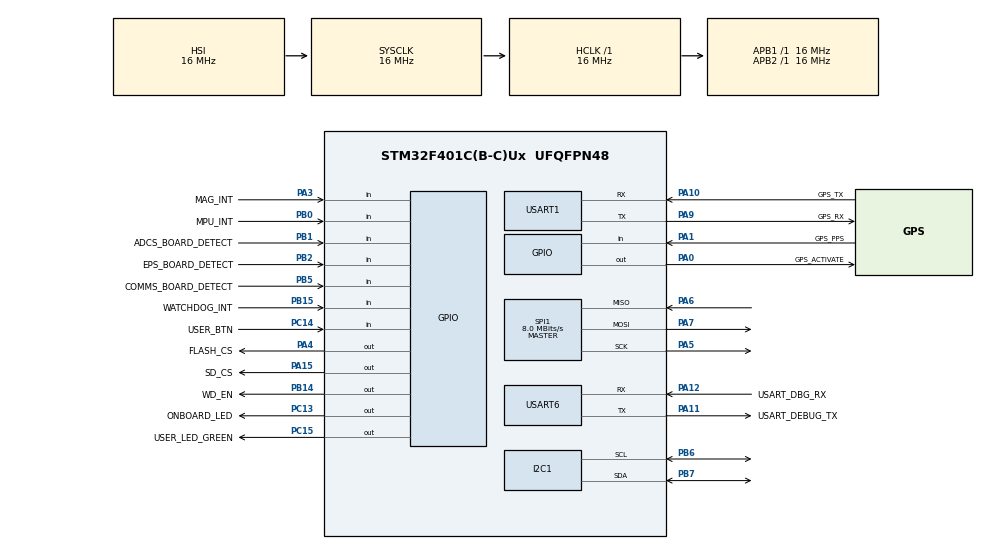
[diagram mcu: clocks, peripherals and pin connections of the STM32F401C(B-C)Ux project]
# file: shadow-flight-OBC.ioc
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Dma.Request0=USART1_RX
Dma.USART1_RX.0.Direction=DMA_PERIPH_TO_MEMORY
Dma.USART1_RX.0.FIFOMode=DMA_FIFOMODE_DISABLE
Dma.USART1_RX.0.Instance=DMA2_Stream2
Dma.USART1_RX.0.MemDataAlignment=DMA_MDATAALIGN_BYTE
Dma.USART1_RX.0.MemInc=DMA_MINC_ENABLE
Dma.USART1_RX.0.Mode=DMA_NORMAL
Dma.USART1_RX.0.PeriphDataAlignment=DMA_PDATAALIGN_BYTE
Dma.USART1_RX.0.PeriphInc=DMA_PINC_DISABLE
Dma.USART1_RX.0.Priority=DMA_PRIORITY_LOW
FREERTOS.Tasks01=defaultTask,0,128,StartDefaultTask,Default,NULL,Dynamic,NULL,NULL
Mcu.Family=STM32F4
Mcu.Name=STM32F401C(B-C)Ux
Mcu.Package=UFQFPN48
NVIC.DMA2_Stream2_IRQn=true\:5\:0\:false\:false\:true\:true\:false\:true\:true
NVIC.PriorityGroup=NVIC_PRIORITYGROUP_4
NVIC.TIM1_UP_TIM10_IRQn=true\:15\:0\:false\:false\:true\:false\:false\:true\:true
NVIC.TimeBase=TIM1_UP_TIM10_IRQn
NVIC.TimeBaseIP=TIM1
NVIC.USART1_IRQn=true\:5\:0\:false\:false\:true\:true\:true\:true\:true
NVIC.USART6_IRQn=true\:5\:0\:false\:false\:true\:true\:true\:true\:true
PA0-WKUP.GPIO_Label=GPS_ACTIVATE
PA0-WKUP.Signal=GPIO_Output
PA1.GPIO_Label=GPS_PPS
PA1.Signal=GPIO_Input
PA10.GPIO_Label=GPS_TX
PA10.Mode=Asynchronous
PA10.Signal=USART1_RX
PA11.GPIO_Label=USART_DEBUG_TX
PA11.Mode=Asynchronous
PA11.Signal=USART6_TX
PA12.GPIO_Label=USART_DBG_RX
PA12.Mode=Asynchronous
PA12.Signal=USART6_RX
PA13.Mode=Serial_Wire
PA13.Signal=SYS_JTMS-SWDIO
PA14.Mode=Serial_Wire
PA14.Signal=SYS_JTCK-SWCLK
PA15.GPIO_Label=SD_CS
PA15.Signal=GPIO_Output
PA3.GPIO_Label=MAG_INT
PA3.Signal=GPIO_Input
PA4.GPIO_Label=FLASH_CS
PA4.Signal=GPIO_Output
PA5.Mode=Full_Duplex_Master
PA5.Signal=SPI1_SCK
PA6.Mode=Full_Duplex_Master
PA6.Signal=SPI1_MISO
PA7.Mode=Full_Duplex_Master
PA7.Signal=SPI1_MOSI
PA9.GPIO_Label=GPS_RX
PA9.Mode=Asynchronous
PA9.Signal=USART1_TX
PB0.GPIO_Label=MPU_INT
PB0.Signal=GPIO_Input
PB1.GPIO_Label=ADCS_BOARD_DETECT
PB1.Signal=GPIO_Input
PB14.GPIO_Label=WD_EN
PB14.Signal=GPIO_Output
PB15.GPIO_Label=WATCHDOG_INT
PB15.Signal=GPIO_Input
PB2.GPIO_Label=EPS_BOARD_DETECT
PB2.Signal=GPIO_Input
PB5.GPIO_Label=COMMS_BOARD_DETECT
PB5.Signal=GPIO_Input
PB6.Mode=I2C
PB6.Signal=I2C1_SCL
PB7.Mode=I2C
PB7.Signal=I2C1_SDA
PC13-ANTI_TAMP.GPIO_Label=ONBOARD_LED
PC13-ANTI_TAMP.Signal=GPIO_Output
PC14-OSC32_IN.GPIO_Label=USER_BTN
PC14-OSC32_IN.Signal=GPIO_Input
PC15-OSC32_OUT.GPIO_Label=USER_LED_GREEN
PC15-OSC32_OUT.Signal=GPIO_Output
PH0\ -\ OSC_IN.Mode=HSE-External-Oscillator
PH0\ -\ OSC_IN.Signal=RCC_OSC_IN
PH1\ -\ OSC_OUT.Mode=HSE-External-Oscillator
PH1\ -\ OSC_OUT.Signal=RCC_OSC_OUT
ProjectManager.HeapSize=0x200
ProjectManager.StackSize=0x400
ProjectManager.TargetToolchain=STM32CubeIDE
RCC.AHBFreq_Value=16000000
RCC.APB1Freq_Value=16000000
RCC.APB2Freq_Value=16000000
RCC.CortexFreq_Value=16000000
RCC.HSE_VALUE=25000000
RCC.HSI_VALUE=16000000
RCC.LSE_VALUE=32768
RCC.SYSCLKFreq_VALUE=16000000
RCC.VCOOutputFreq_Value=192000000
SPI1.CalculateBaudRate=8.0 MBits/s
SPI1.Direction=SPI_DIRECTION_2LINES
SPI1.Mode=SPI_MODE_MASTER
SPI1.VirtualType=VM_MASTER
USART1.VirtualMode=VM_ASYNC
USART6.VirtualMode=VM_ASYNC
VP_FREERTOS_VS_CMSIS_V1.Mode=CMSIS_V1
VP_SYS_VS_tim1.Mode=TIM1
board=custom

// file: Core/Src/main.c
/* USER CODE BEGIN Header */
/**
  ******************************************************************************
  * @file           : main.c
  * @brief          : Main program body
  ******************************************************************************
  * @attention
  *
  * Copyright (c) 2025 STMicroelectronics.
  * All rights reserved.
  *
  * This software is licensed under terms that can be found in the LICENSE file
  * in the root directory of this software component.
  * If no LICENSE file comes with this software, it is provided AS-IS.
  *
  * 496e7370697265642062792041706f6c6c6f20383a
  *
  * 496e2074686520626567696e6e696e6720476f64206372656174656420
  * 7468652068656176656e20616e64207468652065617274682ea416e642074686520
  * 65617274682077617320776974686f757420666f726d2c20616e6420766f69643b20616e6420
  * 6461726b6e657373207761732075706f6e207468652066616365206f6620
  * 74686520646565702e20416e642074686520537069726974206f6620476f6420
  * 6d6f7665642075706f6e207468652066616365206f6620
  * 746865207761746572732ea416e6420476f6420736169642c204c657420
  * 7468657265206265206c696768743a20616e6420746865726520
  * 776173206c696768742ea416e6420476f64207361772074686520
  * 6c696768742c20746861742069742077617320676f6f643a20616e6420
  * 476f64206469766964656420746865206c696768742066726f6d2074686520
  * 6461726b6e6573732e
  *
  * 416e6420476f642063616c6c656420746865206c69676874204461792c20616e6420
  * 746865206461726b6e6573732068652063616c6c6564204e696768742e20416e6420
  * 746865206576656e696e6720616e6420746865206d6f726e696e67207765726520
  * 746865206669727374206461792ea416e6420476f6420736169642c204c657420
  * 74686572652062652061206669726d616d656e7420696e20746865206d6964737420
  * 6f6620746865207761746572732c20616e64206c65742069742064697669646520
  * 746865207761746572732066726f6d20746865207761746572732ea416e6420
  * 476f64206d61646520746865206669726d616d656e742c20616e64206469766964656420
  * 74686520776174657273207768696368207765726520756e6465722074686520
  * 6669726d616d656e742066726f6d207468652077617465727320776869636820
  * 776572652061626f766520746865206669726d616d656e743a20616e6420697420
  * 77617320736f2ea416e6420476f642063616c6c65642074686520
  * 6669726d616d656e742048656176656e2e20416e642074686520
  * 6576656e696e6720616e6420746865206d6f726e696e67207765726520
  * 746865207365636f6e64206461792e
  *
  * 416e6420476f6420736169642c204c6574207468652077617465727320
  * 756e646572207468652068656176656e20626520676174686572656420
  * 746f67657468657220756e746f206f6e6520706c6163652c20616e6420
  * 6c65742074686520647279206c616e64206170706561723a20616e6420
  * 69742077617320736f2ea416e6420476f642063616c6c65642074686520
  * 647279206c616e642045617274683b20616e642074686520676174686572696e6720
  * 746f676574686572206f6620746865207761746572732063616c6c656420686520
  * 536561733a20616e6420476f642073617720746861742069742077617320676f6f642e
  *
  ******************************************************************************
  */
/* USER CODE END Header */
#include "main.h"
#include "cmsis_os.h"

/* USER CODE BEGIN Includes */
#include "FreeRTOS.h"
#include "stdio.h"
#include "string.h"
#include "stdlib.h"
#include "math.h"
#include "defines.h"
#include "filter_config.h"
#include "command_engine.h"
#include "data_types.h"
#include "logger.h"
#include "semphr.h"

/* USER CODE END Includes */

/* USER CODE BEGIN PD */

/* initialize internal logger */
Logger* internal_logger;

/* USER CODE END PD */

/* USER CODE BEGIN PM */

/**
 * QUEUE DEFINITIONS
 */
QueueHandle_t heap_stats_queue = NULL;

/* USER CODE END PM */

I2C_HandleTypeDef hi2c1;

SPI_HandleTypeDef hspi1;

UART_HandleTypeDef huart1;
UART_HandleTypeDef huart6;
DMA_HandleTypeDef hdma_usart1_rx;

osThreadId defaultTaskHandle;
/* USER CODE BEGIN PV */
osThreadId x_task_create_tasks_tsk_handle;
osThreadId x_task_dummy_data_tsk_handle;
osThreadId x_task_control_onboard_led_tsk_handle;
osThreadId x_task_control_onboard_buzzer_tsk_handle;
osThreadId x_task_get_watchdog_tsk_handle;
osThreadId x_task_core_fsm_monitor_tsk_handle;
osThreadId x_task_get_heap_memory_stats_tsk_handle;
osThreadId x_task_get_task_stats_tsk_handle;
osThreadId x_task_blink_onboard_tsk_handle;

/* USER CODE END PV */

void SystemClock_Config(void);
static void MX_GPIO_Init(void);
static void MX_DMA_Init(void);
static void MX_I2C1_Init(void);
static void MX_SPI1_Init(void);
static void MX_USART1_UART_Init(void);
static void MX_USART6_UART_Init(void);
void StartDefaultTask(void const * argument);

/* USER CODE BEGIN PFP */

/**
 * @fn void x_task_dummy_data(const void*)
 * @brief This function generates a fake dummy data values
 *
 * @param argument
 */
void x_task_dummy_data(void const* argument);

/**
 * @fn void x_task_create_tasks(const void*)
 * @brief This function creates all the tasks then self-deletes
 *
 * @param argument parameter to the task
 */
void x_task_create_tasks(void const* argument);

/**
 * @fn void x_task_control_onboard_led(const void*)
 * @brief This task controls the on-board LEDs depending on the state
 *
 * @param argument parameter to the task
 */
void x_task_control_onboard_led(void const* argument);

/**
 * @fn void x_task_control_onboard_buzzer(const void*)
 * @brief
 *
 * @param argument parameter to the task
 */
void x_task_control_onboard_buzzer(void const* argument);

/**
 * @fn void x_task_get_watchdog(void const*)
 * @brief
 *
 * @param argument
 */
void x_task_get_watchdog(void const* argument);

/**
 * @fn void x_task_core_fsm_monitor(const void*)
 * @brief This task monitors the current state of the device and calls relevant action
 *
 * @param argument
 */
void x_task_core_fsm_monitor(void const* argument);

/**
 * @fn void x_task_get_heap_memory_stats(const void*)
 * @brief This task collects the heap memory usage statistics
 *
 * @param argument parameter to the task
 */
void x_task_get_heap_memory_stats(void const* argument);

/**
 * @fn void x_task_get_task_stats(const void*)
 * @brief This task gets information about the tasks currently running
 *
 * @param argument
 */
void x_task_get_task_stats(void const* argument);

/**
 * @fn void x_task_read_acceleration(const void*)
 * @brief Thif task read the pure acceleration from the accelerometer
 *
 * @param argument parameter to the task
 */
void x_task_read_acceleration(void const* argument);

/**
 * @fn void x_task_read_imu(const void*)
 * @brief This task reads the inertial measurement unit
 *
 * @param argument
 */
void x_task_read_imu(void const* argument);

/**
 * @fn void x_task_read_magnetometer(const void*)
 * @brief This task reads the magnetometer/compass
 *
 * @param argument
 */
void x_task_read_magnetometer(void const* argument);

/**
 * @fn void x_task_read_temperature(const void*)
 * @brief This function reads the temperature from the onboard temperature sensor
 * on the OBC
 *
 * @param argument
 */
void x_task_read_temperature(void const* argument);

/**
 * @fn void x_task_sun_sensors(const void*)
 * @brief This function reads the light value from the sun sensors
 *
 * @param argument
 */
void x_task_sun_sensors(void const* argument);

/**
 * @fn void x_task_read_GPS(const void*)
 * @brief This function reads the GPS coordinates
 *
 * @param argument
 */
void x_task_read_GPS(void const* argument);

/**
 * @fn void x_task_data_dispatcher(const void*)
 * @brief This task sends the data to relevant queues
 *
 * @param argument
 */
void x_task_data_dispatcher(void const* argument);

/**
 * @fn void x_task_sensor_queue_notify(const void*)
 * @brief
 *
 * @param argument
 */
void x_task_sensor_queue_notify(void const* argument);

/**
 * @fn void x_task_kalman_filter(const void*)
 * @brief This task filters the sensor data using Kalman Filter
 *
 * @param argument
 */
void x_task_kalman_filter(void const* argument);

/**
 * @fn void x_task_median_filter(const void*)
 * @brief This function filters data using median filter
 *
 * @param argument
 */
void x_task_median_filter(void const* argument);

/**
 * @fn void x_task_moving_avg_filter(const void*)
 * @brief This task filters data using the moving average filter
 *
 * @param argument
 */
void x_task_moving_avg_filter(void const* argument);

/**
 * @fn void x_task_complementary_filter(const void*)
 * @brief This task filters data using complementary filter
 *
 * @param argument
 */
void x_task_complementary_filter(void const* argument);

/**
 * @fn void x_task_compose_telemetry_packet(const void*)
 * @brief This task arranged the telemetry data for transmission to ground
 *
 * @param argument
 */
void x_task_compose_telemetry_packet(void const* argument);

/**
 * @fn void x_task_transmit_telemetry(const void*)
 * @brief This task transmits telemetry packet to ground station
 *
 * @param argument
 */
void x_task_transmit_telemetry(void const* argument);

/**
 * @fn void x_task_check_fault(const void*)
 * @brief This task contantly monitors relevant thresholds to check for faults
 *
 * @param argument
 */
void x_task_check_fault(void const* argument);

/**
 * @fn void x_task_blink_onboard(const void*)
 * @brief This task blinks the onboard LED at intervals
 *
 * @param argument
 */
void x_task_blink_onboard(void const* argument);

/**
 * @fn void x_task_debug_to_uart(const void*)
 * @brief This task prints data to UART
 *
 * @param argument
 */
void x_task_debug_to_uart(void const* argument);

/* USER CODE END PFP */

int main(void)
{

  /* MCU Configuration--------------------------------------------------------*/

  /* Reset of all peripherals, Initializes the Flash interface and the Systick. */
  HAL_Init();

  /* USER CODE BEGIN Init */

  internal_logger = logger_create();

  /* USER CODE END Init */

  /* Configure the system clock */
  SystemClock_Config();

  /* Initialize all configured peripherals */
  MX_GPIO_Init();
  MX_DMA_Init();
  MX_I2C1_Init();
  MX_SPI1_Init();
  MX_USART1_UART_Init();
  MX_USART6_UART_Init();

  /* USER CODE BEGIN RTOS_QUEUES */
  /* create the queues */
  heap_stats_queue = xQueueCreate(HEAP_STATS_QUEUE_LENGTH, sizeof(heap_statistics_type_t));

  /* check queues created OK */
  if(heap_stats_queue == NULL) {
	  // todo: send to logger
  } else {
	  // todo: send to logger
  }

  /* USER CODE END RTOS_QUEUES */

  /* Create the thread(s) */
  /* definition and creation of defaultTask */
  osThreadDef(defaultTask, StartDefaultTask, osPriorityNormal, 0, 128);
  defaultTaskHandle = osThreadCreate(osThread(defaultTask), NULL);

  /* USER CODE BEGIN RTOS_THREADS */

  /* fetch heap memory statistics */
  /*osThreadDef(heap_stats_task, x_task_get_heap_memory_stats, osPriorityNormal, 0, 1024);
  x_task_get_heap_memory_stats_tsk_handle = osThreadCreate(osThread(heap_stats_task), NULL);*/

  /* blink on-board LED for status indication */
  osThreadDef(onboard_led_blink, x_task_blink_onboard, osPriorityLow, 0, 1000);
  x_task_control_onboard_led_tsk_handle = osThreadCreate(osThread(onboard_led_blink), NULL);

  /* initialize DMA receive command */
  HAL_UART_Transmit(&huart6, (uint8_t*)"Booting on-board computer...\r\n", strlen("Booting..\r\n"), 200);

  /* initialize the command engine */
  command_engine_start();

  /* USER CODE END RTOS_THREADS */

  /* Start scheduler */
  osKernelStart();

  /* We should never get here as control is now taken by the scheduler */

  /* Infinite loop */
  while (1)
  {

  }
}

void SystemClock_Config(void)
{
  RCC_OscInitTypeDef RCC_OscInitStruct = {0};
  RCC_ClkInitTypeDef RCC_ClkInitStruct = {0};

  /** Configure the main internal regulator output voltage
  */
  __HAL_RCC_PWR_CLK_ENABLE();
  __HAL_PWR_VOLTAGESCALING_CONFIG(PWR_REGULATOR_VOLTAGE_SCALE2);

  /** Initializes the RCC Oscillators according to the specified parameters
  * in the RCC_OscInitTypeDef structure.
  */
  RCC_OscInitStruct.OscillatorType = RCC_OSCILLATORTYPE_HSI;
  RCC_OscInitStruct.HSIState = RCC_HSI_ON;
  RCC_OscInitStruct.HSICalibrationValue = RCC_HSICALIBRATION_DEFAULT;
  RCC_OscInitStruct.PLL.PLLState = RCC_PLL_NONE;
  if (HAL_RCC_OscConfig(&RCC_OscInitStruct) != HAL_OK)
  {
    Error_Handler();
  }

  /** Initializes the CPU, AHB and APB buses clocks
  */
  RCC_ClkInitStruct.ClockType = RCC_CLOCKTYPE_HCLK|RCC_CLOCKTYPE_SYSCLK
                              |RCC_CLOCKTYPE_PCLK1|RCC_CLOCKTYPE_PCLK2;
  RCC_ClkInitStruct.SYSCLKSource = RCC_SYSCLKSOURCE_HSI;
  RCC_ClkInitStruct.AHBCLKDivider = RCC_SYSCLK_DIV1;
  RCC_ClkInitStruct.APB1CLKDivider = RCC_HCLK_DIV1;
  RCC_ClkInitStruct.APB2CLKDivider = RCC_HCLK_DIV1;

  if (HAL_RCC_ClockConfig(&RCC_ClkInitStruct, FLASH_LATENCY_0) != HAL_OK)
  {
    Error_Handler();
  }
}

static void MX_I2C1_Init(void)
{

  hi2c1.Instance = I2C1;
  hi2c1.Init.ClockSpeed = 100000;
  hi2c1.Init.DutyCycle = I2C_DUTYCYCLE_2;
  hi2c1.Init.OwnAddress1 = 0;
  hi2c1.Init.AddressingMode = I2C_ADDRESSINGMODE_7BIT;
  hi2c1.Init.DualAddressMode = I2C_DUALADDRESS_DISABLE;
  hi2c1.Init.OwnAddress2 = 0;
  hi2c1.Init.GeneralCallMode = I2C_GENERALCALL_DISABLE;
  hi2c1.Init.NoStretchMode = I2C_NOSTRETCH_DISABLE;
  if (HAL_I2C_Init(&hi2c1) != HAL_OK)
  {
    Error_Handler();
  }

}

static void MX_SPI1_Init(void)
{

  /* SPI1 parameter configuration*/
  hspi1.Instance = SPI1;
  hspi1.Init.Mode = SPI_MODE_MASTER;
  hspi1.Init.Direction = SPI_DIRECTION_2LINES;
  hspi1.Init.DataSize = SPI_DATASIZE_8BIT;
  hspi1.Init.CLKPolarity = SPI_POLARITY_LOW;
  hspi1.Init.CLKPhase = SPI_PHASE_1EDGE;
  hspi1.Init.NSS = SPI_NSS_SOFT;
  hspi1.Init.BaudRatePrescaler = SPI_BAUDRATEPRESCALER_2;
  hspi1.Init.FirstBit = SPI_FIRSTBIT_MSB;
  hspi1.Init.TIMode = SPI_TIMODE_DISABLE;
  hspi1.Init.CRCCalculation = SPI_CRCCALCULATION_DISABLE;
  hspi1.Init.CRCPolynomial = 10;
  if (HAL_SPI_Init(&hspi1) != HAL_OK)
  {
    Error_Handler();
  }

}

static void MX_USART1_UART_Init(void)
{

  huart1.Instance = USART1;
  huart1.Init.BaudRate = 115200;
  huart1.Init.WordLength = UART_WORDLENGTH_8B;
  huart1.Init.StopBits = UART_STOPBITS_1;
  huart1.Init.Parity = UART_PARITY_NONE;
  huart1.Init.Mode = UART_MODE_TX_RX;
  huart1.Init.HwFlowCtl = UART_HWCONTROL_NONE;
  huart1.Init.OverSampling = UART_OVERSAMPLING_16;
  if (HAL_UART_Init(&huart1) != HAL_OK)
  {
    Error_Handler();
  }

}

static void MX_USART6_UART_Init(void)
{

  huart6.Instance = USART6;
  huart6.Init.BaudRate = 115200;
  huart6.Init.WordLength = UART_WORDLENGTH_8B;
  huart6.Init.StopBits = UART_STOPBITS_1;
  huart6.Init.Parity = UART_PARITY_NONE;
  huart6.Init.Mode = UART_MODE_TX_RX;
  huart6.Init.HwFlowCtl = UART_HWCONTROL_NONE;
  huart6.Init.OverSampling = UART_OVERSAMPLING_16;
  if (HAL_UART_Init(&huart6) != HAL_OK)
  {
    Error_Handler();
  }

}

static void MX_DMA_Init(void)
{

  /* DMA controller clock enable */
  __HAL_RCC_DMA2_CLK_ENABLE();

  /* DMA interrupt init */
  /* DMA2_Stream2_IRQn interrupt configuration */
  HAL_NVIC_SetPriority(DMA2_Stream2_IRQn, 5, 0);
  HAL_NVIC_EnableIRQ(DMA2_Stream2_IRQn);

}

static void MX_GPIO_Init(void)
{
  GPIO_InitTypeDef GPIO_InitStruct = {0};

  /* GPIO Ports Clock Enable */
  __HAL_RCC_GPIOC_CLK_ENABLE();
  __HAL_RCC_GPIOH_CLK_ENABLE();
  __HAL_RCC_GPIOA_CLK_ENABLE();
  __HAL_RCC_GPIOB_CLK_ENABLE();

  /*Configure GPIO pin Output Level */
  HAL_GPIO_WritePin(GPIOC, ONBOARD_LED_Pin|USER_LED_GREEN_Pin, GPIO_PIN_RESET);

  /*Configure GPIO pin Output Level */
  HAL_GPIO_WritePin(GPIOA, GPS_ACTIVATE_Pin|FLASH_CS_Pin|SD_CS_Pin, GPIO_PIN_RESET);

  /*Configure GPIO pin Output Level */
  HAL_GPIO_WritePin(WD_EN_GPIO_Port, WD_EN_Pin, GPIO_PIN_RESET);

  /*Configure GPIO pins : ONBOARD_LED_Pin USER_LED_GREEN_Pin */
  GPIO_InitStruct.Pin = ONBOARD_LED_Pin|USER_LED_GREEN_Pin;
  GPIO_InitStruct.Mode = GPIO_MODE_OUTPUT_PP;
  GPIO_InitStruct.Pull = GPIO_NOPULL;
  GPIO_InitStruct.Speed = GPIO_SPEED_FREQ_LOW;
  HAL_GPIO_Init(GPIOC, &GPIO_InitStruct);

  /*Configure GPIO pin : USER_BTN_Pin */
  GPIO_InitStruct.Pin = USER_BTN_Pin;
  GPIO_InitStruct.Mode = GPIO_MODE_INPUT;
  GPIO_InitStruct.Pull = GPIO_NOPULL;
  HAL_GPIO_Init(USER_BTN_GPIO_Port, &GPIO_InitStruct);

  /*Configure GPIO pins : GPS_ACTIVATE_Pin FLASH_CS_Pin SD_CS_Pin */
  GPIO_InitStruct.Pin = GPS_ACTIVATE_Pin|FLASH_CS_Pin|SD_CS_Pin;
  GPIO_InitStruct.Mode = GPIO_MODE_OUTPUT_PP;
  GPIO_InitStruct.Pull = GPIO_NOPULL;
  GPIO_InitStruct.Speed = GPIO_SPEED_FREQ_LOW;
  HAL_GPIO_Init(GPIOA, &GPIO_InitStruct);

  /*Configure GPIO pins : GPS_PPS_Pin MAG_INT_Pin */
  GPIO_InitStruct.Pin = GPS_PPS_Pin|MAG_INT_Pin;
  GPIO_InitStruct.Mode = GPIO_MODE_INPUT;
  GPIO_InitStruct.Pull = GPIO_NOPULL;
  HAL_GPIO_Init(GPIOA, &GPIO_InitStruct);

  /*Configure GPIO pins : MPU_INT_Pin ADCS_BOARD_DETECT_Pin EPS_BOARD_DETECT_Pin WATCHDOG_INT_Pin
                           COMMS_BOARD_DETECT_Pin */
  GPIO_InitStruct.Pin = MPU_INT_Pin|ADCS_BOARD_DETECT_Pin|EPS_BOARD_DETECT_Pin|WATCHDOG_INT_Pin
                          |COMMS_BOARD_DETECT_Pin;
  GPIO_InitStruct.Mode = GPIO_MODE_INPUT;
  GPIO_InitStruct.Pull = GPIO_NOPULL;
  HAL_GPIO_Init(GPIOB, &GPIO_InitStruct);

  /*Configure GPIO pin : WD_EN_Pin */
  GPIO_InitStruct.Pin = WD_EN_Pin;
  GPIO_InitStruct.Mode = GPIO_MODE_OUTPUT_PP;
  GPIO_InitStruct.Pull = GPIO_NOPULL;
  GPIO_InitStruct.Speed = GPIO_SPEED_FREQ_LOW;
  HAL_GPIO_Init(WD_EN_GPIO_Port, &GPIO_InitStruct);

}

/* USER CODE BEGIN 4 */

/**
 * @fn void x_task_blink_onboard(const void*)
 * @brief This task blinks the onboard LED at intervals
 *
 * @param argument
 */
void x_task_blink_onboard(void const* argument) {
	TickType_t x_last_wake_time = xTaskGetTickCount();
	static uint8_t led_state = 0;

	for(;;) {

		HAL_GPIO_WritePin(ONBOARD_LED_GPIO_Port, ONBOARD_LED_Pin, led_state);
		led_state = !led_state;
		vTaskDelayUntil(&x_last_wake_time, pdMS_TO_TICKS(ONBOARD_LED_BLINK_INTERVAL));

	}

}

/**
 * @fn void x_task_get_heap_memory_stats(const void*)
 * @brief This task fetches remaining heap memory from main memory heap at the time of call
 * It also fetches the minimum ever free heap size, to know how low we have ever gone to running out
 * of heap memory
 *
 * @param args
 */
void x_task_get_heap_memory_stats(const void* args) {
	TickType_t x_last_woken = xTaskGetTickCount();

	size_t free_hp;
	size_t min_ever_hp;
	heap_statistics_type_t hp_stats;
	BaseType_t q_send_status;

	for(;;) {

		free_hp = xPortGetFreeHeapSize();
		min_ever_hp = xPortGetMinimumEverFreeHeapSize();

		hp_stats.free_heap = free_hp;
		hp_stats.minimum_ever_heap = min_ever_hp;
		q_send_status = xQueueSend(heap_stats_queue, &hp_stats, 0);
		//internal_logger->_log_to_uart(internal_logger, &huart6);

		/* add heart-beat checking every defined interval */
		vTaskDelayUntil(&x_last_woken, pdMS_TO_TICKS(HEAP_CHECK_INTERVAL));

		/* check for queue send status */
		if(q_send_status == pdPASS) {
			//internal_logger->_log_to_uart_msg(internal_logger, &huart6, "Sent to queue\r\n");
		} else {
			//internal_logger->_log_to_uart_msg(internal_logger, &huart6, "Queue full\r\n");
		}
	}
}

/**
 * @fn void x_task_debug_to_uart(const void*)
 * @brief This task prints data to UART
 *
 * @param argument
 */
void x_task_debug_to_uart(void const* argument) {
	for(;;) {
	}
}

/**
 * @fn void x_task_get_watchdog(void const*)
 * @brief
 *
 * @param argument
 */
void x_task_get_watchdog(void const* argument) {

}

/*
 * callback for receiving data via UART DMA
 */

void HAL_UARTEx_RxEventCallback(UART_HandleTypeDef* huart, uint16_t Size) {

	if(huart == &huart1) {
		/* We receive commands from UART1 -> connected to a test harness */
		BaseType_t pxHigherPriorityTaskWoken = pdTRUE;
		raw_cubesat_command_t cmd;
		cmd.length = Size;

		memcpy(cmd.command, rx_dma_buffer, Size);
		cmd.command[Size] = '\0';

		if(Size > 0) { /* only send if there is actual data available */
			if(xQueueSendFromISR(raw_command_queue, &cmd, &pxHigherPriorityTaskWoken) == pdPASS) {
				// TODO: log success
			} else {
				// TODO: log error
			}
		}

		/* restart DMA receiver */
		//__HAL_UART_CLEAR_IDLEFLAG(&huart1); /* clear idle flag manually */
		HAL_UARTEx_ReceiveToIdle_DMA(&huart1, (uint8_t*)rx_dma_buffer, MAX_UART_DMA_COMMAND_LENGTH);
		__HAL_DMA_DISABLE_IT(huart->hdmarx, DMA_IT_HT);

		portYIELD_FROM_ISR(pxHigherPriorityTaskWoken);
	}
}

/* USER CODE END 4 */

void StartDefaultTask(void const * argument)
{
  for(;;)
  {
    osDelay(1);
  }
}

void HAL_TIM_PeriodElapsedCallback(TIM_HandleTypeDef *htim)
{
  if (htim->Instance == TIM1)
  {
    HAL_IncTick();
  }
}

void Error_Handler(void)
{
  __disable_irq();
  while (1)
  {
  }
}
